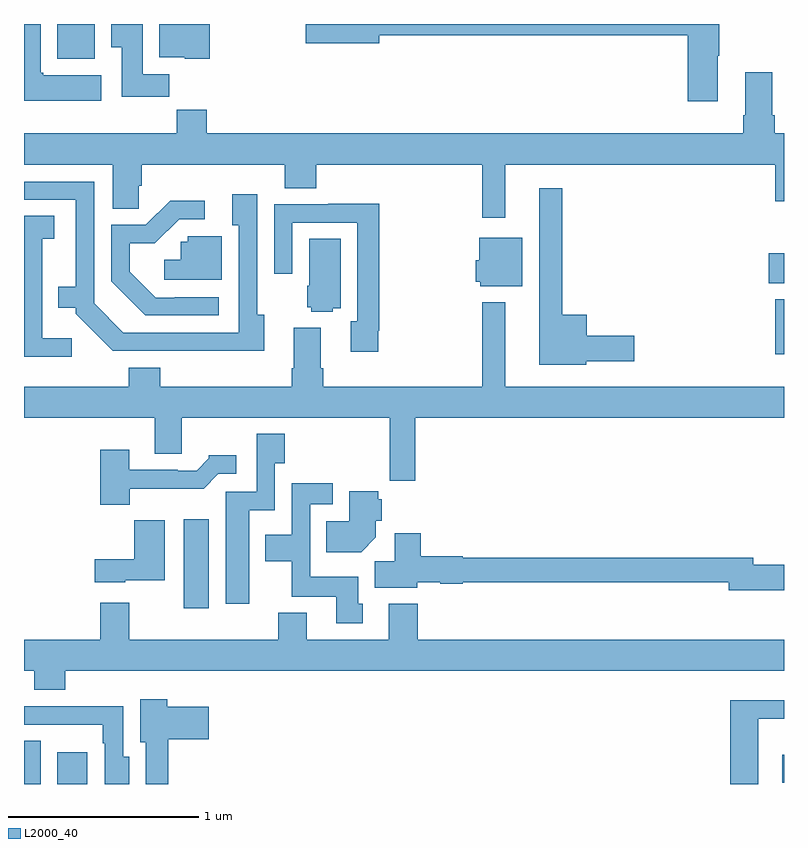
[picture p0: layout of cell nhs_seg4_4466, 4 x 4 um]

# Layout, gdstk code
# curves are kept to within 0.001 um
import gdstk
lib = gdstk.Library(unit=1e-6, precision=1e-09)
def R(c, l, rs):  # rectangles x0, y0, x1, y1
    for r in rs: c.add(gdstk.rectangle(r[:2], r[2:], *l))
def P(c, l, *ps):  # polygons
    for p in ps: c.add(gdstk.Polygon(p, *l))
L2000_40 = (2000, 40)

nhs_seg4_4466 = lib.new_cell('nhs_seg4_4466')
R(nhs_seg4_4466, L2000_40, [(351,786.9,351.088,787.127), (351.176,786.9,351.334,787.066), (354.99,786.907,355,787.054), (351.842,787.824,351.973,788.293), (354.953,789.162,355,789.451), (354.921,789.536,355,789.694), (351.176,790.718,351.373,790.9)])
P(nhs_seg4_4466, L2000_40, [(354.652,790.732),(354.66,790.732),(354.66,790.9),(352.482,790.9),(352.482,790.798),(352.87,790.798),(352.87,790.84),(354.494,790.84),(354.494,790.494),(354.652,790.494)],
  [(351.406,790.63),(351.102,790.63),(351.102,790.644),(351.088,790.644),(351.088,790.9),(351,790.9),(351,790.496),(351.406,790.496)],
  [(351.977,790.9),(351.713,790.9),(351.713,790.724),(351.846,790.724),(351.846,790.718),(351.977,790.718)],
  [(351.764,790.636),(351.625,790.636),(351.625,790.9),(351.458,790.9),(351.458,790.777),(351.515,790.777),(351.515,790.518),(351.764,790.518)],
  [(353.533,790.16),(354.953,790.16),(354.953,789.966),(355,789.966),(355,790.324),(354.95,790.324),(354.95,790.42),(354.937,790.42),(354.937,790.645),(354.797,790.645),(354.797,790.42),(354.785,790.42),(354.785,790.324),(351.962,790.324),(351.962,790.448),(351.805,790.448),(351.805,790.324),(351,790.324),(351,790.16),(351.467,790.16),(351.467,789.928),(351.605,789.928),(351.605,790.05),(351.62,790.05),(351.62,790.16),(352.373,790.16),(352.373,790.036),(352.538,790.036),(352.538,790.16),(353.412,790.16),(353.412,789.879),(353.533,789.879)],
  [(352.264,789.37),(352.227,789.37),(352.227,790.003),(352.097,790.003),(352.097,789.842),(352.131,789.842),(352.131,789.276),(351.522,789.276),(351.369,789.429),(351.369,790.071),(351,790.071),(351,789.975),(351.272,789.975),(351.272,789.517),(351.181,789.517),(351.181,789.407),(351.273,789.407),(351.273,789.375),(351.468,789.18),(352.264,789.179)],
  [(353.958,789.125),(354.211,789.125),(354.211,789.26),(353.962,789.26),(353.962,789.37),(353.833,789.37),(353.833,790.036),(353.711,790.036),(353.711,789.107),(353.958,789.107)],
  [(352.024,789.462),(351.793,789.462),(351.793,789.459),(351.693,789.459),(351.556,789.596),(351.556,789.746),(351.689,789.746),(351.816,789.873),(351.952,789.873),(351.952,789.971),(351.77,789.971),(351.642,789.843),(351.459,789.843),(351.459,789.545),(351.638,789.366),(352.024,789.366)],
  [(352.864,789.286),(352.871,789.286),(352.871,789.955),(352.601,789.955),(352.601,789.951),(352.317,789.951),(352.317,789.585),(352.413,789.585),(352.413,789.855),(352.755,789.855),(352.755,789.335),(352.721,789.335),(352.721,789.174),(352.864,789.174)],
  [(351.25,789.247),(351.096,789.247),(351.096,789.769),(351.16,789.769),(351.16,789.89),(351,789.89),(351,789.149),(351.25,789.149)],
  [(352.042,789.783),(351.861,789.783),(351.861,789.753),(351.825,789.753),(351.825,789.658),(351.738,789.658),(351.738,789.555),(352.042,789.555)],
  [(353.623,789.775),(353.396,789.775),(353.396,789.657),(353.378,789.657),(353.378,789.543),(353.4,789.543),(353.4,789.521),(353.623,789.521)],
  [(352.626,789.404),(352.666,789.404),(352.666,789.77),(352.502,789.77),(352.502,789.522),(352.49,789.522),(352.49,789.408),(352.512,789.408),(352.512,789.386),(352.626,789.386)],
  [(353.06,788.828),(355,788.828),(355,788.992),(353.533,788.992),(353.533,789.436),(353.412,789.436),(353.412,788.992),(352.574,788.992),(352.574,789.088),(352.561,789.088),(352.561,789.301),(352.421,789.301),(352.421,789.088),(352.409,789.088),(352.409,788.992),(351.716,788.992),(351.716,789.091),(351.551,789.091),(351.551,788.992),(351,788.992),(351,788.828),(351.689,788.828),(351.689,788.638),(351.829,788.638),(351.829,788.828),(352.924,788.828),(352.924,788.496),(353.06,788.496)],
  [(352.186,788.342),(352.32,788.342),(352.32,788.587),(352.373,788.587),(352.373,788.743),(352.224,788.743),(352.224,788.439),(352.061,788.439),(352.061,787.848),(352.186,787.848)],
  [(351.556,788.454),(351.945,788.454),(352.023,788.532),(352.117,788.532),(352.117,788.629),(351.972,788.629),(351.972,788.614),(351.908,788.55),(351.809,788.55),(351.809,788.553),(351.553,788.553),(351.553,788.659),(351.401,788.659),(351.401,788.369),(351.556,788.369)],
  [(352.783,787.848),(352.759,787.848),(352.759,787.99),(352.506,787.99),(352.506,788.373),(352.624,788.373),(352.624,788.482),(352.41,788.482),(352.41,788.212),(352.271,788.212),(352.271,788.072),(352.408,788.072),(352.408,787.886),(352.643,787.886),(352.643,787.746),(352.783,787.746)],
  [(352.852,788.198),(352.852,788.286),(352.883,788.286),(352.883,788.4),(352.864,788.4),(352.864,788.441),(352.712,788.441),(352.712,788.284),(352.591,788.284),(352.591,788.12),(352.774,788.12)],
  [(351.534,787.973),(351.742,787.973),(351.742,788.287),(351.58,788.287),(351.58,788.083),(351.372,788.083),(351.372,787.961),(351.534,787.961)],
  [(355,788.054),(354.838,788.054),(354.838,788.09),(353.31,788.09),(353.31,788.098),(353.087,788.098),(353.087,788.221),(352.952,788.221),(352.952,788.072),(352.847,788.072),(352.847,787.934),(353.07,787.934),(353.07,787.961),(353.19,787.961),(353.19,787.954),(353.31,787.954),(353.31,787.962),(354.71,787.962),(354.71,787.919),(355,787.919)],
  [(351.218,787.496),(355,787.496),(355,787.66),(353.072,787.66),(353.072,787.849),(352.919,787.849),(352.919,787.66),(352.489,787.66),(352.489,787.801),(352.337,787.801),(352.337,787.66),(351.553,787.66),(351.553,787.855),(351.401,787.855),(351.401,787.66),(351,787.66),(351,787.496),(351.053,787.496),(351.053,787.397),(351.218,787.397)],
  [(351.76,787.136),(351.973,787.136),(351.973,787.306),(351.755,787.306),(351.755,787.345),(351.611,787.345),(351.611,787.121),(351.641,787.121),(351.641,786.9),(351.76,786.9)],
  [(354.865,787.244),(355,787.244),(355,787.342),(354.716,787.342),(354.716,786.9),(354.865,786.9)],
  [(351.553,787.044),(351.522,787.044),(351.522,787.31),(351.301,787.31),(351.301,787.308),(351,787.308),(351,787.212),(351.184,787.212),(351.184,787.211),(351.414,787.211),(351.414,787.115),(351.426,787.115),(351.426,786.9),(351.553,786.9)])

lib.write_gds('nhs_seg4_4466.gds')
